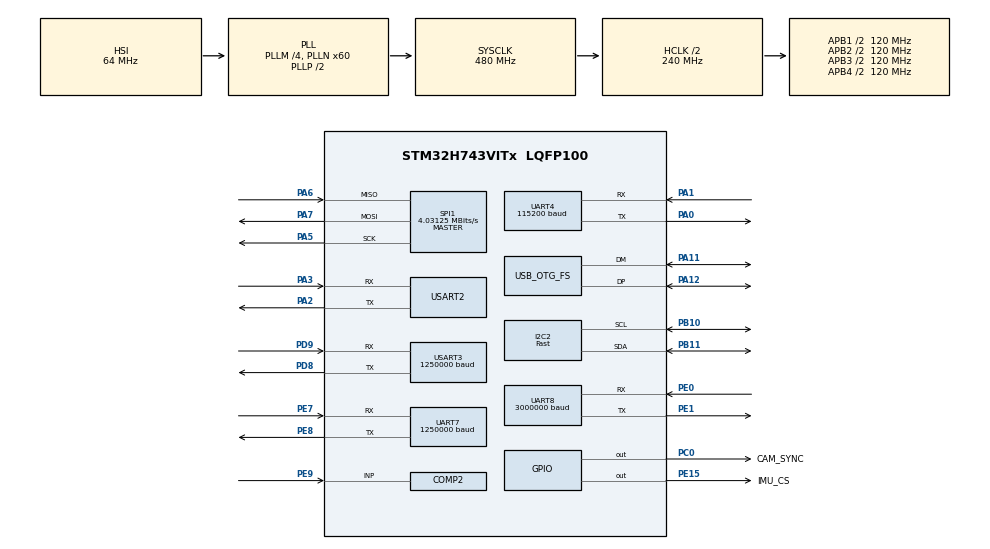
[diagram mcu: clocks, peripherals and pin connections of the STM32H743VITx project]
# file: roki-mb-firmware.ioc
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COMP2.Hysteresis=COMP_HYSTERESIS_NONE
COMP2.TriggerMode=COMP_TRIGGERMODE_IT_RISING_FALLING
DAC1.DAC_Channel-DAC_OUT1_Int=DAC_CHANNEL_1
Dma.I2C2_RX.0.Direction=DMA_PERIPH_TO_MEMORY
Dma.I2C2_RX.0.EventEnable=DISABLE
Dma.I2C2_RX.0.FIFOMode=DMA_FIFOMODE_DISABLE
Dma.I2C2_RX.0.Instance=DMA1_Stream0
Dma.I2C2_RX.0.MemDataAlignment=DMA_MDATAALIGN_BYTE
Dma.I2C2_RX.0.MemInc=DMA_MINC_ENABLE
Dma.I2C2_RX.0.Mode=DMA_NORMAL
Dma.I2C2_RX.0.PeriphDataAlignment=DMA_PDATAALIGN_BYTE
Dma.I2C2_RX.0.PeriphInc=DMA_PINC_DISABLE
Dma.I2C2_RX.0.Polarity=HAL_DMAMUX_REQ_GEN_RISING
Dma.I2C2_RX.0.Priority=DMA_PRIORITY_LOW
Dma.I2C2_RX.0.RequestNumber=1
Dma.I2C2_RX.0.SignalID=NONE
Dma.I2C2_RX.0.SyncEnable=DISABLE
Dma.I2C2_RX.0.SyncPolarity=HAL_DMAMUX_SYNC_NO_EVENT
Dma.I2C2_RX.0.SyncRequestNumber=1
Dma.I2C2_RX.0.SyncSignalID=NONE
Dma.I2C2_TX.1.Direction=DMA_MEMORY_TO_PERIPH
Dma.I2C2_TX.1.EventEnable=DISABLE
Dma.I2C2_TX.1.FIFOMode=DMA_FIFOMODE_DISABLE
Dma.I2C2_TX.1.Instance=DMA1_Stream1
Dma.I2C2_TX.1.MemDataAlignment=DMA_MDATAALIGN_BYTE
Dma.I2C2_TX.1.MemInc=DMA_MINC_ENABLE
Dma.I2C2_TX.1.Mode=DMA_NORMAL
Dma.I2C2_TX.1.PeriphDataAlignment=DMA_PDATAALIGN_BYTE
Dma.I2C2_TX.1.PeriphInc=DMA_PINC_DISABLE
Dma.I2C2_TX.1.Polarity=HAL_DMAMUX_REQ_GEN_RISING
Dma.I2C2_TX.1.Priority=DMA_PRIORITY_LOW
Dma.I2C2_TX.1.RequestNumber=1
Dma.I2C2_TX.1.SignalID=NONE
Dma.I2C2_TX.1.SyncEnable=DISABLE
Dma.I2C2_TX.1.SyncPolarity=HAL_DMAMUX_SYNC_NO_EVENT
Dma.I2C2_TX.1.SyncRequestNumber=1
Dma.I2C2_TX.1.SyncSignalID=NONE
Dma.Request0=I2C2_RX
Dma.Request1=I2C2_TX
Dma.Request2=SPI1_TX
Dma.Request3=SPI1_RX
Dma.SPI1_RX.3.Direction=DMA_PERIPH_TO_MEMORY
Dma.SPI1_RX.3.EventEnable=DISABLE
Dma.SPI1_RX.3.FIFOMode=DMA_FIFOMODE_DISABLE
Dma.SPI1_RX.3.Instance=DMA1_Stream5
Dma.SPI1_RX.3.MemDataAlignment=DMA_MDATAALIGN_BYTE
Dma.SPI1_RX.3.MemInc=DMA_MINC_ENABLE
Dma.SPI1_RX.3.Mode=DMA_NORMAL
Dma.SPI1_RX.3.PeriphDataAlignment=DMA_PDATAALIGN_BYTE
Dma.SPI1_RX.3.PeriphInc=DMA_PINC_DISABLE
Dma.SPI1_RX.3.Polarity=HAL_DMAMUX_REQ_GEN_RISING
Dma.SPI1_RX.3.Priority=DMA_PRIORITY_MEDIUM
Dma.SPI1_RX.3.RequestNumber=1
Dma.SPI1_RX.3.SignalID=NONE
Dma.SPI1_RX.3.SyncEnable=DISABLE
Dma.SPI1_RX.3.SyncPolarity=HAL_DMAMUX_SYNC_NO_EVENT
Dma.SPI1_RX.3.SyncRequestNumber=1
Dma.SPI1_RX.3.SyncSignalID=NONE
Dma.SPI1_TX.2.Direction=DMA_MEMORY_TO_PERIPH
Dma.SPI1_TX.2.EventEnable=DISABLE
Dma.SPI1_TX.2.FIFOMode=DMA_FIFOMODE_DISABLE
Dma.SPI1_TX.2.Instance=DMA1_Stream4
Dma.SPI1_TX.2.MemDataAlignment=DMA_MDATAALIGN_BYTE
Dma.SPI1_TX.2.MemInc=DMA_MINC_ENABLE
Dma.SPI1_TX.2.Mode=DMA_NORMAL
Dma.SPI1_TX.2.PeriphDataAlignment=DMA_PDATAALIGN_BYTE
Dma.SPI1_TX.2.PeriphInc=DMA_PINC_DISABLE
Dma.SPI1_TX.2.Polarity=HAL_DMAMUX_REQ_GEN_RISING
Dma.SPI1_TX.2.Priority=DMA_PRIORITY_MEDIUM
Dma.SPI1_TX.2.RequestNumber=1
Dma.SPI1_TX.2.SignalID=NONE
Dma.SPI1_TX.2.SyncEnable=DISABLE
Dma.SPI1_TX.2.SyncPolarity=HAL_DMAMUX_SYNC_NO_EVENT
Dma.SPI1_TX.2.SyncRequestNumber=1
Dma.SPI1_TX.2.SyncSignalID=NONE
I2C2.I2C_Speed_Mode=I2C_Fast
I2C2.Timing=0x00B03FDB
Mcu.Family=STM32H7
Mcu.Name=STM32H743VITx
Mcu.Package=LQFP100
NVIC.COMP_IRQn=true\:1\:0\:true\:false\:true\:false\:true\:true
NVIC.DMA1_Stream0_IRQn=true\:1\:0\:true\:false\:true\:false\:true\:true
NVIC.DMA1_Stream1_IRQn=true\:1\:0\:true\:false\:true\:false\:true\:true
NVIC.DMA1_Stream4_IRQn=true\:1\:0\:true\:false\:true\:false\:true\:true
NVIC.DMA1_Stream5_IRQn=true\:1\:0\:true\:false\:true\:false\:true\:true
NVIC.I2C2_ER_IRQn=true\:1\:0\:true\:false\:true\:true\:true\:true
NVIC.I2C2_EV_IRQn=true\:1\:0\:true\:false\:true\:true\:true\:true
NVIC.OTG_FS_EP1_OUT_IRQn=true\:1\:0\:true\:false\:true\:false\:true\:true
NVIC.OTG_FS_IRQn=true\:0\:0\:false\:false\:true\:false\:true\:true
NVIC.PriorityGroup=NVIC_PRIORITYGROUP_4
NVIC.SPI1_IRQn=true\:2\:0\:true\:false\:true\:false\:true\:true
NVIC.TIM2_IRQn=true\:1\:0\:true\:false\:true\:true\:true\:true
NVIC.TIM3_IRQn=true\:1\:0\:true\:false\:true\:true\:true\:true
NVIC.TIM4_IRQn=true\:1\:0\:true\:false\:true\:true\:true\:true
NVIC.UART4_IRQn=true\:1\:0\:true\:false\:true\:true\:true\:true
NVIC.UART8_IRQn=true\:2\:0\:true\:false\:true\:true\:true\:true
NVIC.USART3_IRQn=true\:1\:0\:true\:false\:true\:true\:true\:true
PA0.Mode=Asynchronous
PA0.Signal=UART4_TX
PA1.Mode=Asynchronous
PA1.Signal=UART4_RX
PA11.Mode=Device_Only
PA11.PinAttribute=Free
PA11.Signal=USB_OTG_FS_DM
PA12.Mode=Device_Only
PA12.PinAttribute=Free
PA12.Signal=USB_OTG_FS_DP
PA13\ (JTMS/SWDIO).Mode=Serial_Wire
PA13\ (JTMS/SWDIO).PinAttribute=Free
PA13\ (JTMS/SWDIO).Signal=DEBUG_JTMS-SWDIO
PA14\ (JTCK/SWCLK).Mode=Serial_Wire
PA14\ (JTCK/SWCLK).PinAttribute=Free
PA14\ (JTCK/SWCLK).Signal=DEBUG_JTCK-SWCLK
PA2.Mode=Asynchronous
PA2.Signal=USART2_TX
PA3.Mode=Asynchronous
PA3.Signal=USART2_RX
PA5.GPIO_Speed=GPIO_SPEED_FREQ_LOW
PA5.Mode=Full_Duplex_Master
PA5.Signal=SPI1_SCK
PA6.GPIO_Speed=GPIO_SPEED_FREQ_LOW
PA6.Mode=Full_Duplex_Master
PA6.Signal=SPI1_MISO
PA7.GPIO_Speed=GPIO_SPEED_FREQ_LOW
PA7.Mode=Full_Duplex_Master
PA7.Signal=SPI1_MOSI
PB10.Mode=I2C
PB10.Signal=I2C2_SCL
PB11.Mode=I2C
PB11.Signal=I2C2_SDA
PC0.GPIO_Label=CAM_SYNC
PC0.GPIO_PuPd=GPIO_PULLDOWN
PC0.GPIO_Speed=GPIO_SPEED_FREQ_VERY_HIGH
PC0.Signal=GPIO_Output
PD8.Mode=Asynchronous
PD8.Signal=USART3_TX
PD9.Mode=Asynchronous
PD9.PinAttribute=Free
PD9.Signal=USART3_RX
PE0.Mode=Asynchronous
PE0.Signal=UART8_RX
PE1.Mode=Asynchronous
PE1.Signal=UART8_TX
PE15.GPIO_Label=IMU_CS
PE15.GPIO_PuPd=GPIO_PULLDOWN
PE15.GPIO_Speed=GPIO_SPEED_FREQ_VERY_HIGH
PE15.PinState=GPIO_PIN_RESET
PE15.Signal=GPIO_Output
PE7.Mode=Asynchronous
PE7.Signal=UART7_RX
PE8.Mode=Asynchronous
PE8.Signal=UART7_TX
PE9.Mode=INP
PE9.Signal=COMP2_INP
ProjectManager.HeapSize=0x200
ProjectManager.StackSize=0x400
ProjectManager.TargetToolchain=STM32CubeIDE
RCC.ADCFreq_Value=150000000
RCC.APB1Freq_Value=120000000
RCC.APB2Freq_Value=120000000
RCC.APB3Freq_Value=120000000
RCC.APB4Freq_Value=120000000
RCC.CortexFreq_Value=480000000
RCC.D1PPRE=RCC_APB3_DIV2
RCC.D2PPRE1=RCC_APB1_DIV2
RCC.D2PPRE2=RCC_APB2_DIV2
RCC.D3PPRE=RCC_APB4_DIV2
RCC.DIVM1=4
RCC.DIVM2=4
RCC.DIVN1=60
RCC.DIVN2=9
RCC.DIVP2=1
RCC.DIVQ1=5
RCC.HCLKFreq_Value=240000000
RCC.HPRE=RCC_HCLK_DIV2
RCC.PLL2FRACN=3072
RCC.PLL3FRACN=0
RCC.PLLFRACN=0
RCC.PWR_Regulator_Voltage_Scale=PWR_REGULATOR_VOLTAGE_SCALE0
RCC.SPI123CLockSelection=RCC_SPI123CLKSOURCE_PLL3
RCC.SYSCLKFreq_VALUE=480000000
RCC.SYSCLKSource=RCC_SYSCLKSOURCE_PLLCLK
RCC.USBCLockSelection=RCC_USBCLKSOURCE_HSI48
RCC.USBFreq_Value=48000000
SPI1.BaudRatePrescaler=SPI_BAUDRATEPRESCALER_32
SPI1.CLKPhase=SPI_PHASE_2EDGE
SPI1.CLKPolarity=SPI_POLARITY_HIGH
SPI1.CalculateBaudRate=4.03125 MBits/s
SPI1.DataSize=SPI_DATASIZE_8BIT
SPI1.Direction=SPI_DIRECTION_2LINES
SPI1.Mode=SPI_MODE_MASTER
SPI1.VirtualType=VM_MASTER
TIM2.Period=100
TIM2.Prescaler=24000
TIM3.Period=10
TIM3.Prescaler=24000
TIM4.Period=100
TIM4.Prescaler=24000
UART4.BaudRate=115200
UART4.DMADisableonRxErrorParam=UART_ADVFEATURE_DMA_DISABLEONRXERROR
UART4.FIFOMode=FIFOMODE_DISABLE
UART4.Parity=PARITY_EVEN
UART4.RXFIFOThreshold=RXFIFO_THRESHOLD_1EIGHTHFULL
UART4.TXFIFOThreshold=TXFIFO_THRESHOLD_1EIGHTHFULL
UART4.WordLength=WORDLENGTH_9B
UART7.BaudRate=1250000
UART8.BaudRate=3000000
UART8.DMADisableonRxErrorParam=UART_ADVFEATURE_DMA_DISABLEONRXERROR
UART8.DataInvertParam=UART_ADVFEATURE_DATAINV_DISABLE
UART8.FIFOMode=FIFOMODE_ENABLE
UART8.Parity=PARITY_NONE
UART8.RXFIFOThreshold=RXFIFO_THRESHOLD_FULL
UART8.RxPinLevelInvertParam=UART_ADVFEATURE_RXINV_DISABLE
UART8.SwapParam=UART_ADVFEATURE_SWAP_DISABLE
UART8.TXFIFOThreshold=TXFIFO_THRESHOLD_EMPTY
UART8.TxPinLevelInvertParam=UART_ADVFEATURE_TXINV_DISABLE
UART8.WordLength=WORDLENGTH_8B
USART2.VirtualMode-Asynchronous=VM_ASYNC
USART3.BaudRate=1250000
USART3.DMADisableonRxErrorParam=ADVFEATURE_DMA_DISABLEONRXERROR
USART3.DataInvertParam=ADVFEATURE_DATAINV_DISABLE
USART3.FIFOMode=FIFOMODE_ENABLE
USART3.OverrunDisableParam=ADVFEATURE_OVERRUN_ENABLE
USART3.Parity=PARITY_EVEN
USART3.RXFIFOThreshold=RXFIFO_THRESHOLD_FULL
USART3.RxPinLevelInvertParam=ADVFEATURE_RXINV_DISABLE
USART3.StopBits=STOPBITS_1
USART3.TXFIFOThreshold=TXFIFO_THRESHOLD_EMPTY
USART3.TxPinLevelInvertParam=ADVFEATURE_TXINV_DISABLE
USART3.VirtualMode-Asynchronous=VM_ASYNC
USART3.WordLength=WORDLENGTH_9B
USB_DEVICE.CLASS_NAME_FS=CDC
USB_DEVICE.VirtualMode-CDC_FS=Cdc
USB_DEVICE.VirtualModeFS=Cdc_FS
USB_OTG_FS.VirtualMode=Device_Only
VP_COMP2_VS_DACOUT1.Mode=INM_DACOUT1
VP_DAC1_VS_DACI1.Mode=DAC_OUT1_Int
VP_TIM2_VS_ClockSourceINT.Mode=Internal
VP_TIM3_VS_ClockSourceINT.Mode=Internal
VP_TIM4_VS_ClockSourceINT.Mode=Internal
VP_USB_DEVICE_VS_USB_DEVICE_CDC_FS.Mode=CDC_FS
board=custom

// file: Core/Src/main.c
/* USER CODE BEGIN Header */
/**
 ******************************************************************************
 * @file           : main.c
 * @brief          : Main program body
 ******************************************************************************
 * @attention
 *
 * Copyright (c) 2023 STMicroelectronics.
 * All rights reserved.
 *
 * This software is licensed under terms that can be found in the LICENSE file
 * in the root directory of this software component.
 * If no LICENSE file comes with this software, it is provided AS-IS.
 *
 ******************************************************************************
 */
/* USER CODE END Header */
#include "main.h"
#include "comp.h"
#include "dac.h"
#include "dma.h"
#include "i2c.h"
#include "spi.h"
#include "tim.h"
#include "usart.h"
#include "usb_device.h"
#include "gpio.h"

/* USER CODE BEGIN Includes */
#include "MotherboardMain.h"
/* USER CODE END Includes */

void SystemClock_Config(void);

int main(void)
{
  /* USER CODE BEGIN 1 */
	SCB->VTOR = (FLASH_BASE | 0x20000);
  /* USER CODE END 1 */

  /* MCU Configuration--------------------------------------------------------*/

  /* Reset of all peripherals, Initializes the Flash interface and the Systick. */
  HAL_Init();

  /* Configure the system clock */
  SystemClock_Config();

  /* Initialize all configured peripherals */
  MX_GPIO_Init();
  MX_DMA_Init();
  MX_I2C2_Init();
  MX_SPI1_Init();
  MX_USB_DEVICE_Init();
  MX_USART2_UART_Init();
  MX_UART4_Init();
  MX_UART7_Init();
  MX_USART3_UART_Init();
  MX_TIM3_Init();
  MX_TIM2_Init();
  MX_TIM4_Init();
  MX_COMP2_Init();
  MX_DAC1_Init();
  MX_UART8_Init();
  /* USER CODE BEGIN 2 */

	struct MotherboardConfig config;
	config.HeadIO.Uart = &huart3;

	config.BodyClient.Uart = &huart8;
	config.BodyClient.TimeoutMs = 200;

	config.IMUDevice.SampleRate = 800.0;
	config.IMUDevice.ReportLatency = 0;
	config.IMUDevice.Spi = &hspi1;

	config.BodyQueue.Period = 20;

	config.StrobeFilter.TargetDuration = 10;
	config.StrobeFilter.DurationThreshold = 0;

	MotherboardInit(config);

	HAL_DAC_Start(&hdac1, DAC1_CHANNEL_1);
	HAL_DAC_SetValue(&hdac1, DAC1_CHANNEL_1, DAC_ALIGN_12B_R, 4095 * (1 / 3.3));
	HAL_TIM_Base_Start_IT(&htim3);
	HAL_TIM_Base_Start_IT(&htim2);
	HAL_COMP_Start(&hcomp2);

	MotherboardRun();
  /* USER CODE END 2 */

  /* Infinite loop */
  while (1)
  {

	}
}

void SystemClock_Config(void)
{
  RCC_OscInitTypeDef RCC_OscInitStruct = {0};
  RCC_ClkInitTypeDef RCC_ClkInitStruct = {0};

  /** Supply configuration update enable
  */
  HAL_PWREx_ConfigSupply(PWR_LDO_SUPPLY);

  /** Configure the main internal regulator output voltage
  */
  __HAL_PWR_VOLTAGESCALING_CONFIG(PWR_REGULATOR_VOLTAGE_SCALE1);

  while(!__HAL_PWR_GET_FLAG(PWR_FLAG_VOSRDY)) {}

  __HAL_RCC_SYSCFG_CLK_ENABLE();
  __HAL_PWR_VOLTAGESCALING_CONFIG(PWR_REGULATOR_VOLTAGE_SCALE0);

  while(!__HAL_PWR_GET_FLAG(PWR_FLAG_VOSRDY)) {}

  /** Macro to configure the PLL clock source
  */
  __HAL_RCC_PLL_PLLSOURCE_CONFIG(RCC_PLLSOURCE_HSI);

  /** Initializes the RCC Oscillators according to the specified parameters
  * in the RCC_OscInitTypeDef structure.
  */
  RCC_OscInitStruct.OscillatorType = RCC_OSCILLATORTYPE_HSI48|RCC_OSCILLATORTYPE_HSI;
  RCC_OscInitStruct.HSIState = RCC_HSI_DIV1;
  RCC_OscInitStruct.HSICalibrationValue = RCC_HSICALIBRATION_DEFAULT;
  RCC_OscInitStruct.HSI48State = RCC_HSI48_ON;
  RCC_OscInitStruct.PLL.PLLState = RCC_PLL_ON;
  RCC_OscInitStruct.PLL.PLLSource = RCC_PLLSOURCE_HSI;
  RCC_OscInitStruct.PLL.PLLM = 4;
  RCC_OscInitStruct.PLL.PLLN = 60;
  RCC_OscInitStruct.PLL.PLLP = 2;
  RCC_OscInitStruct.PLL.PLLQ = 5;
  RCC_OscInitStruct.PLL.PLLR = 2;
  RCC_OscInitStruct.PLL.PLLRGE = RCC_PLL1VCIRANGE_3;
  RCC_OscInitStruct.PLL.PLLVCOSEL = RCC_PLL1VCOWIDE;
  RCC_OscInitStruct.PLL.PLLFRACN = 0;
  if (HAL_RCC_OscConfig(&RCC_OscInitStruct) != HAL_OK)
  {
    Error_Handler();
  }

  /** Initializes the CPU, AHB and APB buses clocks
  */
  RCC_ClkInitStruct.ClockType = RCC_CLOCKTYPE_HCLK|RCC_CLOCKTYPE_SYSCLK
                              |RCC_CLOCKTYPE_PCLK1|RCC_CLOCKTYPE_PCLK2
                              |RCC_CLOCKTYPE_D3PCLK1|RCC_CLOCKTYPE_D1PCLK1;
  RCC_ClkInitStruct.SYSCLKSource = RCC_SYSCLKSOURCE_PLLCLK;
  RCC_ClkInitStruct.SYSCLKDivider = RCC_SYSCLK_DIV1;
  RCC_ClkInitStruct.AHBCLKDivider = RCC_HCLK_DIV2;
  RCC_ClkInitStruct.APB3CLKDivider = RCC_APB3_DIV2;
  RCC_ClkInitStruct.APB1CLKDivider = RCC_APB1_DIV2;
  RCC_ClkInitStruct.APB2CLKDivider = RCC_APB2_DIV2;
  RCC_ClkInitStruct.APB4CLKDivider = RCC_APB4_DIV2;

  if (HAL_RCC_ClockConfig(&RCC_ClkInitStruct, FLASH_LATENCY_4) != HAL_OK)
  {
    Error_Handler();
  }
}

/* USER CODE BEGIN 4 */

void HAL_COMP_TriggerCallback(COMP_HandleTypeDef *hcomp) {
	if (hcomp->Instance == COMP2)
		SFCompCallback();
}

void HAL_UART_RxCpltCallback(UART_HandleTypeDef *huart) {
	if (huart->Instance == USART3)
		HeadRxCallback();
}

void HAL_UART_TxCpltCallback(UART_HandleTypeDef *huart) {
	if (huart->Instance == USART3)
		HeadTxCallback();
}

void HAL_TIM_PeriodElapsedCallback(TIM_HandleTypeDef *htim) {
	if (htim->Instance == TIM3)
		BQueueTimCallback();

	if (htim->Instance == TIM2)
		IMUTimCallback();
}

/* USER CODE END 4 */

void Error_Handler(void)
{
	__disable_irq();
	while (1) {
	}
}

#ifdef  USE_FULL_ASSERT
/**
  * @brief  Reports the name of the source file and the source line number
  *         where the assert_param error has occurred.
  * @param  file: pointer to the source file name
  * @param  line: assert_param error line source number
  * @retval None
  */
void assert_failed(uint8_t *file, uint32_t line)
{
  /* USER CODE BEGIN 6 */

	uint8_t fileBuf[256];
	strncpy(fileBuf, file, 256);

	while(1) {}
  /* User can add his own implementation to report the file name and line number,
     ex: printf("Wrong parameters value: file %s on line %d\r\n", file, line) */
  /* USER CODE END 6 */
}
#endif /* USE_FULL_ASSERT */
